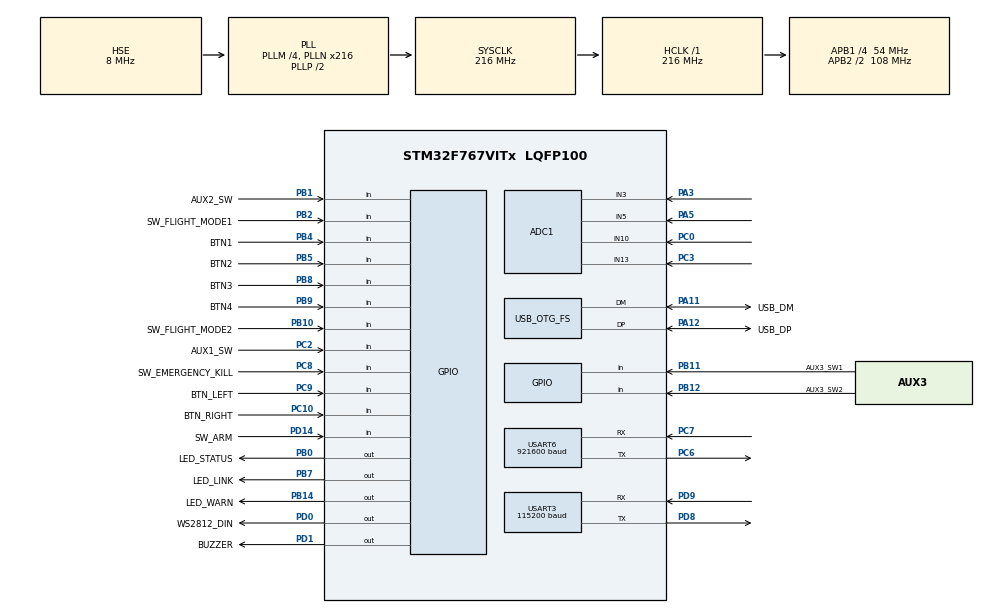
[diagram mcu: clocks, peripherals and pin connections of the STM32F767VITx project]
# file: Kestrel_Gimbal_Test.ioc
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ADC1.Channel-0\#ChannelRegularConversion=ADC_CHANNEL_10
ADC1.Channel-1\#ChannelRegularConversion=ADC_CHANNEL_13
ADC1.Channel-2\#ChannelRegularConversion=ADC_CHANNEL_3
ADC1.Channel-3\#ChannelRegularConversion=ADC_CHANNEL_5
ADC1.ContinuousConvMode=DISABLE
ADC1.DMAContinuousRequests=ENABLE
ADC1.DiscontinuousConvMode=DISABLE
ADC1.ExternalTrigConv=ADC_EXTERNALTRIGCONV_T2_TRGO
ADC1.InjNumberOfConversion=0
ADC1.NbrOfConversion=4
ADC1.NbrOfConversionFlag=1
ADC1.Rank-0\#ChannelRegularConversion=1
ADC1.Rank-1\#ChannelRegularConversion=2
ADC1.Rank-2\#ChannelRegularConversion=3
ADC1.Rank-3\#ChannelRegularConversion=4
ADC1.SamplingTime-0\#ChannelRegularConversion=ADC_SAMPLETIME_144CYCLES
ADC1.SamplingTime-1\#ChannelRegularConversion=ADC_SAMPLETIME_144CYCLES
ADC1.SamplingTime-2\#ChannelRegularConversion=ADC_SAMPLETIME_144CYCLES
ADC1.SamplingTime-3\#ChannelRegularConversion=ADC_SAMPLETIME_144CYCLES
ADC1.ScanConvMode=ADC_SCAN_ENABLE
ADC1.master=1
CORTEX_M7.CPU_ICache=Enabled
CORTEX_M7.default_mode_Activation=1
Dma.ADC1.2.Direction=DMA_PERIPH_TO_MEMORY
Dma.ADC1.2.FIFOMode=DMA_FIFOMODE_DISABLE
Dma.ADC1.2.Instance=DMA2_Stream0
Dma.ADC1.2.MemDataAlignment=DMA_MDATAALIGN_HALFWORD
Dma.ADC1.2.MemInc=DMA_MINC_ENABLE
Dma.ADC1.2.Mode=DMA_CIRCULAR
Dma.ADC1.2.PeriphDataAlignment=DMA_PDATAALIGN_HALFWORD
Dma.ADC1.2.PeriphInc=DMA_PINC_DISABLE
Dma.ADC1.2.Priority=DMA_PRIORITY_HIGH
Dma.Request0=USART6_RX
Dma.Request1=USART6_TX
Dma.Request2=ADC1
Dma.USART6_RX.0.Direction=DMA_PERIPH_TO_MEMORY
Dma.USART6_RX.0.FIFOMode=DMA_FIFOMODE_DISABLE
Dma.USART6_RX.0.Instance=DMA2_Stream1
Dma.USART6_RX.0.MemDataAlignment=DMA_MDATAALIGN_BYTE
Dma.USART6_RX.0.MemInc=DMA_MINC_ENABLE
Dma.USART6_RX.0.Mode=DMA_CIRCULAR
Dma.USART6_RX.0.PeriphDataAlignment=DMA_PDATAALIGN_BYTE
Dma.USART6_RX.0.PeriphInc=DMA_PINC_DISABLE
Dma.USART6_RX.0.Priority=DMA_PRIORITY_VERY_HIGH
Dma.USART6_TX.1.Direction=DMA_MEMORY_TO_PERIPH
Dma.USART6_TX.1.FIFOMode=DMA_FIFOMODE_DISABLE
Dma.USART6_TX.1.Instance=DMA2_Stream6
Dma.USART6_TX.1.MemDataAlignment=DMA_MDATAALIGN_BYTE
Dma.USART6_TX.1.MemInc=DMA_MINC_ENABLE
Dma.USART6_TX.1.Mode=DMA_NORMAL
Dma.USART6_TX.1.PeriphDataAlignment=DMA_PDATAALIGN_BYTE
Dma.USART6_TX.1.PeriphInc=DMA_PINC_DISABLE
Dma.USART6_TX.1.Priority=DMA_PRIORITY_VERY_HIGH
FREERTOS.Tasks01=inputTask,40,512,StartInputTask,Default,NULL,Dynamic,NULL,NULL;linkTxTask,48,512,StartLinkTxTask,Default,NULL,Dynamic,NULL,NULL;mavUplinkTask,24,512,StartMavUplinkTask,Default,NULL,Dynamic,NULL,NULL;linkRxTask,24,512,StartLinkRxTask,Default,NULL,Dynamic,NULL,NULL;healthTask,8,384,StartHealthTask,Default,NULL,Dynamic,NULL,NULL
FREERTOS.configCHECK_FOR_STACK_OVERFLOW=2
FREERTOS.configTOTAL_HEAP_SIZE=49152
FREERTOS.configUSE_MALLOC_FAILED_HOOK=1
FREERTOS.configUSE_NEWLIB_REENTRANT=1
IWDG.Prescaler=IWDG_PRESCALER_64
IWDG.Reload=100
Mcu.Family=STM32F7
Mcu.Name=STM32F767VITx
Mcu.Package=LQFP100
NVIC.DMA2_Stream0_IRQn=true\:6\:0\:true\:false\:true\:true\:false\:true\:true
NVIC.DMA2_Stream1_IRQn=true\:5\:0\:false\:false\:true\:true\:false\:true\:true
NVIC.DMA2_Stream6_IRQn=true\:5\:0\:false\:false\:true\:true\:false\:true\:true
NVIC.OTG_FS_IRQn=true\:6\:0\:true\:false\:true\:true\:false\:true\:true
NVIC.PriorityGroup=NVIC_PRIORITYGROUP_4
NVIC.TIM2_IRQn=true\:5\:0\:false\:false\:true\:true\:true\:true\:true
NVIC.TIM6_DAC_IRQn=true\:15\:0\:false\:false\:true\:false\:false\:true\:true
NVIC.TimeBase=TIM6_DAC_IRQn
NVIC.TimeBaseIP=TIM6
NVIC.USART3_IRQn=true\:5\:0\:false\:false\:true\:true\:true\:true\:true
NVIC.USART6_IRQn=true\:5\:0\:false\:false\:true\:true\:true\:true\:true
PA11.GPIO_Label=USB_DM
PA11.Mode=Device_Only
PA11.Signal=USB_OTG_FS_DM
PA12.GPIO_Label=USB_DP
PA12.Mode=Device_Only
PA12.Signal=USB_OTG_FS_DP
PA13.GPIO_Label=TMS
PA13.Mode=Serial_Wire
PA13.Signal=SYS_JTMS-SWDIO
PA14.GPIO_Label=TCK
PA14.Mode=Serial_Wire
PA14.Signal=SYS_JTCK-SWCLK
PA3.Signal=ADCx_IN3
PA5.Signal=ADCx_IN5
PB0.GPIO_Label=LED_STATUS
PB0.Signal=GPIO_Output
PB1.GPIO_Label=AUX2_SW
PB1.GPIO_PuPd=GPIO_PULLUP
PB1.Signal=GPIO_Input
PB10.GPIO_Label=SW_FLIGHT_MODE2
PB10.GPIO_PuPd=GPIO_PULLUP
PB10.Signal=GPIO_Input
PB11.GPIO_Label=AUX3_SW1
PB11.GPIO_PuPd=GPIO_PULLUP
PB11.Signal=GPIO_Input
PB12.GPIO_Label=AUX3_SW2
PB12.GPIO_PuPd=GPIO_PULLUP
PB12.Signal=GPIO_Input
PB14.GPIO_Label=LED_WARN
PB14.Signal=GPIO_Output
PB2.GPIO_Label=SW_FLIGHT_MODE1
PB2.GPIO_PuPd=GPIO_PULLUP
PB2.Signal=GPIO_Input
PB3.GPIO_Label=SWO
PB3.Signal=SYS_JTDO-SWO
PB4.GPIO_Label=BTN1
PB4.GPIO_PuPd=GPIO_PULLUP
PB4.Signal=GPIO_Input
PB5.GPIO_Label=BTN2
PB5.GPIO_PuPd=GPIO_PULLUP
PB5.Signal=GPIO_Input
PB7.GPIO_Label=LED_LINK
PB7.Signal=GPIO_Output
PB8.GPIO_Label=BTN3
PB8.GPIO_PuPd=GPIO_PULLUP
PB8.Signal=GPIO_Input
PB9.GPIO_Label=BTN4
PB9.GPIO_PuPd=GPIO_PULLUP
PB9.Signal=GPIO_Input
PC0.Signal=ADCx_IN10
PC10.GPIO_Label=BTN_RIGHT
PC10.GPIO_PuPd=GPIO_PULLUP
PC10.Signal=GPIO_Input
PC2.GPIO_Label=AUX1_SW
PC2.GPIO_PuPd=GPIO_PULLUP
PC2.Signal=GPIO_Input
PC3.Signal=ADCx_IN13
PC6.Mode=Asynchronous
PC6.Signal=USART6_TX
PC7.Mode=Asynchronous
PC7.Signal=USART6_RX
PC8.GPIO_Label=SW_EMERGENCY_KILL
PC8.GPIO_PuPd=GPIO_PULLUP
PC8.Signal=GPIO_Input
PC9.GPIO_Label=BTN_LEFT
PC9.GPIO_PuPd=GPIO_PULLUP
PC9.Signal=GPIO_Input
PD0.GPIO_Label=WS2812_DIN
PD0.GPIO_Speed=GPIO_SPEED_FREQ_VERY_HIGH
PD0.Signal=GPIO_Output
PD1.GPIO_Label=BUZZER
PD1.Signal=GPIO_Output
PD14.GPIO_Label=SW_ARM
PD14.GPIO_PuPd=GPIO_PULLUP
PD14.Signal=GPIO_Input
PD8.Mode=Asynchronous
PD8.Signal=USART3_TX
PD9.Mode=Asynchronous
PD9.Signal=USART3_RX
PH0/OSC_IN.Mode=HSE-External-Clock-Source
PH0/OSC_IN.Signal=RCC_OSC_IN
PH1/OSC_OUT.Mode=HSE-External-Clock-Source
PH1/OSC_OUT.Signal=RCC_OSC_OUT
ProjectManager.HeapSize=0x200
ProjectManager.StackSize=0x400
ProjectManager.TargetToolchain=STM32CubeIDE
RCC.48MHZClocksFreq_Value=24000000
RCC.AHBFreq_Value=216000000
RCC.APB1CLKDivider=RCC_HCLK_DIV4
RCC.APB1Freq_Value=54000000
RCC.APB1TimFreq_Value=108000000
RCC.APB2CLKDivider=RCC_HCLK_DIV2
RCC.APB2Freq_Value=108000000
RCC.APB2TimFreq_Value=216000000
RCC.CortexFreq_Value=216000000
RCC.HCLKFreq_Value=216000000
RCC.HSE_VALUE=8000000
RCC.HSI_VALUE=16000000
RCC.LSE_VALUE=32768
RCC.PLLM=4
RCC.PLLMUL=RCC_PLL_MUL9
RCC.PLLN=216
RCC.PLLQ=9
RCC.PRESCALERUSB=RCC_USBCLKSOURCE_PLL_DIV1_5
RCC.SYSCLKFreq_VALUE=216000000
RCC.SYSCLKSource=RCC_SYSCLKSOURCE_PLLCLK
RCC.SYSCLKSourceVirtual=RCC_SYSCLKSOURCE_PLLCLK
RCC.USBFreq_Value=48000000
RCC.VCOOutputFreq_Value=432000000
SH.ADCx_IN10.0=ADC1_IN10,IN10
SH.ADCx_IN13.0=ADC1_IN13,IN13
SH.ADCx_IN3.0=ADC1_IN3,IN3
SH.ADCx_IN5.0=ADC1_IN5,IN5
TIM2.AutoReloadPreload=TIM_AUTORELOAD_PRELOAD_ENABLE
TIM2.Period=3999
TIM2.Prescaler=107
TIM2.TIM_MasterOutputTrigger=TIM_TRGO_UPDATE
USART3.BaudRate=115200
USART3.VirtualMode-Asynchronous=VM_ASYNC
USART6.BaudRate=921600
USART6.VirtualMode=VM_ASYNC
USB_DEVICE.CLASS_NAME_FS=CDC
USB_DEVICE.VirtualMode-CDC_FS=Cdc
USB_DEVICE.VirtualModeFS=Cdc_FS
USB_OTG_FS.VirtualMode=Device_Only
VP_FREERTOS_VS_CMSIS_V2.Mode=CMSIS_V2
VP_IWDG_VS_IWDG.Mode=IWDG_Activate
VP_SYS_VS_tim6.Mode=TIM6
VP_TIM2_VS_ClockSourceINT.Mode=Internal
VP_USB_DEVICE_VS_USB_DEVICE_CDC_FS.Mode=CDC_FS
board=custom

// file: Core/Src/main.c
/* USER CODE BEGIN Header */
/**
  ******************************************************************************
  * @file           : main.c
  * @brief          : Main program body
  ******************************************************************************
  * @attention
  *
  * Copyright (c) 2026 STMicroelectronics.
  * All rights reserved.
  *
  * This software is licensed under terms that can be found in the LICENSE file
  * in the root directory of this software component.
  * If no LICENSE file comes with this software, it is provided AS-IS.
  *
  ******************************************************************************
  */
/* USER CODE END Header */
#include "main.h"
#include "cmsis_os.h"
#include "adc.h"
#include "dma.h"
#include "iwdg.h"
#include "tim.h"
#include "usart.h"
#include "usb_device.h"
#include "gpio.h"

void SystemClock_Config(void);
static void MPU_Config(void);
void MX_FREERTOS_Init(void);

int main(void)
{

  /* MPU Configuration--------------------------------------------------------*/
  MPU_Config();

  /* Enable the CPU Cache */

  /* Enable I-Cache---------------------------------------------------------*/
  SCB_EnableICache();

  /* MCU Configuration--------------------------------------------------------*/

  /* Reset of all peripherals, Initializes the Flash interface and the Systick. */
  HAL_Init();

  /* Configure the system clock */
  SystemClock_Config();

  /* Initialize all configured peripherals */
  MX_GPIO_Init();
  MX_DMA_Init();
  MX_ADC1_Init();
  MX_USART6_UART_Init();
  MX_TIM2_Init();
  MX_IWDG_Init();
  MX_USART3_UART_Init();
  /* USER CODE BEGIN 2 */
  __HAL_DBGMCU_FREEZE_IWDG();   /* disables watchdog timeout while debugging */
  /* USER CODE END 2 */

  /* Init scheduler */
  osKernelInitialize();  /* Call init function for freertos objects (in cmsis_os2.c) */
  MX_FREERTOS_Init();

  /* Start scheduler */
  osKernelStart();

  /* We should never get here as control is now taken by the scheduler */

  /* Infinite loop */
  while (1)
  {

  }
}

void SystemClock_Config(void)
{
  RCC_OscInitTypeDef RCC_OscInitStruct = {0};
  RCC_ClkInitTypeDef RCC_ClkInitStruct = {0};

  /** Configure the main internal regulator output voltage
  */
  __HAL_RCC_PWR_CLK_ENABLE();
  __HAL_PWR_VOLTAGESCALING_CONFIG(PWR_REGULATOR_VOLTAGE_SCALE1);

  /** Initializes the RCC Oscillators according to the specified parameters
  * in the RCC_OscInitTypeDef structure.
  */
  RCC_OscInitStruct.OscillatorType = RCC_OSCILLATORTYPE_LSI|RCC_OSCILLATORTYPE_HSE;
  RCC_OscInitStruct.HSEState = RCC_HSE_BYPASS;
  RCC_OscInitStruct.LSIState = RCC_LSI_ON;
  RCC_OscInitStruct.PLL.PLLState = RCC_PLL_ON;
  RCC_OscInitStruct.PLL.PLLSource = RCC_PLLSOURCE_HSE;
  RCC_OscInitStruct.PLL.PLLM = 4;
  RCC_OscInitStruct.PLL.PLLN = 216;
  RCC_OscInitStruct.PLL.PLLP = RCC_PLLP_DIV2;
  RCC_OscInitStruct.PLL.PLLQ = 9;
  RCC_OscInitStruct.PLL.PLLR = 2;
  if (HAL_RCC_OscConfig(&RCC_OscInitStruct) != HAL_OK)
  {
    Error_Handler();
  }

  /** Activate the Over-Drive mode
  */
  if (HAL_PWREx_EnableOverDrive() != HAL_OK)
  {
    Error_Handler();
  }

  /** Initializes the CPU, AHB and APB buses clocks
  */
  RCC_ClkInitStruct.ClockType = RCC_CLOCKTYPE_HCLK|RCC_CLOCKTYPE_SYSCLK
                              |RCC_CLOCKTYPE_PCLK1|RCC_CLOCKTYPE_PCLK2;
  RCC_ClkInitStruct.SYSCLKSource = RCC_SYSCLKSOURCE_PLLCLK;
  RCC_ClkInitStruct.AHBCLKDivider = RCC_SYSCLK_DIV1;
  RCC_ClkInitStruct.APB1CLKDivider = RCC_HCLK_DIV4;
  RCC_ClkInitStruct.APB2CLKDivider = RCC_HCLK_DIV2;

  if (HAL_RCC_ClockConfig(&RCC_ClkInitStruct, FLASH_LATENCY_7) != HAL_OK)
  {
    Error_Handler();
  }
}

 /* MPU Configuration */

void MPU_Config(void)
{
  MPU_Region_InitTypeDef MPU_InitStruct = {0};

  /* Disables the MPU */
  HAL_MPU_Disable();

  /** Initializes and configures the Region and the memory to be protected
  */
  MPU_InitStruct.Enable = MPU_REGION_ENABLE;
  MPU_InitStruct.Number = MPU_REGION_NUMBER0;
  MPU_InitStruct.BaseAddress = 0x0;
  MPU_InitStruct.Size = MPU_REGION_SIZE_4GB;
  MPU_InitStruct.SubRegionDisable = 0x87;
  MPU_InitStruct.TypeExtField = MPU_TEX_LEVEL0;
  MPU_InitStruct.AccessPermission = MPU_REGION_NO_ACCESS;
  MPU_InitStruct.DisableExec = MPU_INSTRUCTION_ACCESS_DISABLE;
  MPU_InitStruct.IsShareable = MPU_ACCESS_SHAREABLE;
  MPU_InitStruct.IsCacheable = MPU_ACCESS_NOT_CACHEABLE;
  MPU_InitStruct.IsBufferable = MPU_ACCESS_NOT_BUFFERABLE;

  HAL_MPU_ConfigRegion(&MPU_InitStruct);
  /* Enables the MPU */
  HAL_MPU_Enable(MPU_PRIVILEGED_DEFAULT);

}

void HAL_TIM_PeriodElapsedCallback(TIM_HandleTypeDef *htim)
{
  if (htim->Instance == TIM6)
  {
    HAL_IncTick();
  }
  /* USER CODE BEGIN Callback 1 */
  else if (htim->Instance == TIM2)
  {
    link_tx_notify_tick_from_isr();
  }
  /* USER CODE END Callback 1 */
}

void Error_Handler(void)
{
  __disable_irq();
  while (1)
  {
  }
}

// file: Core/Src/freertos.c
/* USER CODE BEGIN Header */
/**
  ******************************************************************************
  * File Name          : freertos.c
  * Description        : Code for freertos applications
  ******************************************************************************
  * @attention
  *
  * Copyright (c) 2026 STMicroelectronics.
  * All rights reserved.
  *
  * This software is licensed under terms that can be found in the LICENSE file
  * in the root directory of this software component.
  * If no LICENSE file comes with this software, it is provided AS-IS.
  *
  ******************************************************************************
  */
/* USER CODE END Header */

#include "FreeRTOS.h"
#include "task.h"
#include "main.h"
#include "cmsis_os.h"

/* USER CODE BEGIN Includes */
#include "adc.h"
#include "usart.h"
#include "tim.h"
#include "iwdg.h"
#include "usbd_cdc_if.h"
#include <string.h>
#include "stream_buffer.h"
#include "crsf.h"
/* USER CODE END Includes */

/* USER CODE BEGIN PTD */
typedef struct { GPIO_TypeDef *port; uint16_t pin; } DigitalInput;
typedef struct { uint16_t min, ctr, max; } StickCal;
typedef struct {
  uint32_t rc_frames_sent;
  uint32_t mav_bytes_sent;
  uint32_t mav_drop;    /* MAVLink bytes dropped, uplink stream full */
  uint32_t uart_err;    /* TX timeouts / aborts / DMA start failures */
} LinkTxStats;
typedef struct {
  uint32_t frames;      /* CRC-valid frames from the module */
  uint32_t mav_bytes;   /* MAVLink bytes forwarded to USB */
  uint32_t usb_drop;    /* MAVLink frames dropped: USB host present but not reading */
  uint32_t rx_drop;     /* bytes lost, s_rx_stream full */
  uint32_t uart_err;    /* RX framing/overrun errors (RX DMA re-armed each time) */
} LinkRxStats;
/* USER CODE END PTD */

/* USER CODE BEGIN PD */
#define MODULE_UART        (&huart6)   /* PC6/PC7, 921600: CRSF RC + 0xAA MAVLink to ELRS module */
#define MODULE_UART_INST   USART6
#define DEBUG_UART         (&huart3)   /* PD8/PD9, 115200 (= Nucleo ST-LINK VCP) */
#define RC_TIMER           (&htim2)    /* 250 Hz: TRGO -> ADC, IRQ -> linkTxTask */

/* ADC1 scan order = AETR: PC0, PC3, PA3, PA5 */
#define NUM_ADC_CHANNELS   4
#define ADC_ROLL   0
#define ADC_PITCH  1
#define ADC_THROT  2
#define ADC_YAW    3

/* LED_* = Nucleo LDs (unconnected on PCB). */
#define LED_SET(name, on)  HAL_GPIO_WritePin(name##_GPIO_Port, name##_Pin, (on) ? GPIO_PIN_SET : GPIO_PIN_RESET)
#define LED_TOGGLE(name)   HAL_GPIO_TogglePin(name##_GPIO_Port, name##_Pin)

/* Digital inputs: contacts to GND, pull-up, active LOW. X(enum, CubeMX label) */
#define DIGITAL_INPUTS(X)                   \
  X(IN_SW_ARM,            SW_ARM)           \
  X(IN_SW_FLIGHT_MODE1,   SW_FLIGHT_MODE1)  \
  X(IN_SW_FLIGHT_MODE2,   SW_FLIGHT_MODE2)  \
  X(IN_SW_EMERGENCY_KILL, SW_EMERGENCY_KILL)\
  X(IN_AUX1_SW,           AUX1_SW)          \
  X(IN_AUX2_SW,           AUX2_SW)          \
  X(IN_AUX3_SW1,          AUX3_SW1)         \
  X(IN_AUX3_SW2,          AUX3_SW2)         \
  X(IN_BTN_LEFT,          BTN_LEFT)         \
  X(IN_BTN_RIGHT,         BTN_RIGHT)        \
  X(IN_BTN1,              BTN1)             \
  X(IN_BTN2,              BTN2)             \
  X(IN_BTN3,              BTN3)             \
  X(IN_BTN4,              BTN4)
enum {
#define X(name, label) name,
  DIGITAL_INPUTS(X)
#undef X
  NUM_DIGITAL_INPUTS
};

/* ---- Inputs ---- */
#define INPUTS_DEBOUNCE_COUNT 3     /* samples at ~500 Hz before a pin flips */
#define STICKS_EMA_SHIFT      2     /* y += (x - y) >> k */
#define STICKS_DEADBAND       20    /* ADC counts around centre -> CRSF_CH_MID */

/* ---- Link TX ---- */
#define RC_RATE_HZ          250     /* must match TIM2: 108 MHz / 108 / 4000 */
#define FRAME_TICKS         pdMS_TO_TICKS(1000 / RC_RATE_HZ)  /* 4 ms period in ticks */
#define FRAME_MARGIN_TICKS  1       /* timing safety buffer */
#define LINK_TX_DONE_TIMEOUT_MS  (2000 / RC_RATE_HZ)  /* DMA completion timeout */
#define LINK_TX_MAV_STREAM_BYTES 2048  /* uplink buffer size (tablet -> drone) */
#define LINK_TX_NOTIFY_TICK    (1uL << 0)  /* TIM2 fired: time to send RC frame */
#define LINK_TX_NOTIFY_TXDONE  (1uL << 1)  /* DMA transmission complete */
#define LINK_TX_NOTIFY_ERROR   (1uL << 2)  /* UART error occurred */
#define LINK_TX_NOTIFY_ALL     0xFFFFFFFFuL  /* all notification bits */

/* ---- Link RX ---- */
#define LINK_RX_DMA_BYTES      512     /* circular DMA ring, drained on idle/half/full */
#define LINK_RX_STREAM_BYTES   1024    /* ISR -> linkRxTask */
#define MODULE_ALIVE_MS        1000    /* no valid frame for this long = module gone */

/* ---- ELRS module ---- */
#define ELRS_PARAM_PACKET_RATE 1       /* parameter index of "Packet Rate" */
#define ELRS_RATE_F1000        19      /* write value = 19 - rate table index */
#define ELRS_RATE_200FULL      17      /* "long range": LoRa 200 Hz, 8ch */
#define ELRS_RF_MODE_F1000     11      /* rf_mode in LINK_STATISTICS */
#define ELRS_RF_MODE_200FULL   6
#define ELRS_UPLINK_BPS_F1000  2500    /* MAVLink bytes/s the air link carries up */
#define ELRS_UPLINK_BPS_200FULL 500
#define RATE_WRITE_LOCKOUT_MS  2000    /* min gap between Packet Rate writes */
/* USER CODE END PD */

/* USER CODE BEGIN Variables */
uint16_t adc_raw_buffer[NUM_ADC_CHANNELS];

StreamBufferHandle_t usbRxStreamBuffer;
const size_t usbRxStreamBufferSize = 512;
const size_t usbRxStreamBufferTriggerLevel = 1;

/* inputs */
static const DigitalInput s_pins[NUM_DIGITAL_INPUTS] = {
#define X(name, label) [name] = { label##_GPIO_Port, label##_Pin },
  DIGITAL_INPUTS(X)
#undef X
};
static uint8_t s_stable[NUM_DIGITAL_INPUTS];   /* debounced: 1 = closed/pressed */
static uint8_t s_count[NUM_DIGITAL_INPUTS];
static const StickCal s_cal = { .min = 100, .ctr = 2048, .max = 3995 };  /* TODO: calibration */
static uint16_t s_ema[4];
static int s_ema_primed;

/* link tx */
static osMutexId_t s_rc_mutex;
static uint16_t s_rc_channels[CRSF_NUM_CHANNELS];
static StreamBufferHandle_t s_mav_stream;
static LinkTxStats s_stats;

/* link rx */
static uint8_t s_rx_dma[LINK_RX_DMA_BYTES];
static uint16_t s_rx_pos;                  /* ring bytes already pushed to s_rx_stream */
static StreamBufferHandle_t s_rx_stream;
static LinkRxStats s_rx_stats;
static crsf_link_stats_t s_link_stats;     /* last LINK_STATISTICS; rf_mode shows the rate */
static TickType_t s_rx_last_tick;          /* last CRC-valid frame from the module */

/* range switch (AUX2_SW -> ELRS "Packet Rate") */
static uint8_t s_rate_wanted = ELRS_RATE_F1000;
static uint8_t s_rate_applied;             /* last value written, 0 = unknown */
static uint8_t s_rate_pending;             /* nonzero: linkTxTask sends this write */
static TickType_t s_rate_write_tick;
/* USER CODE END Variables */
/* Definitions for inputTask */
osThreadId_t inputTaskHandle;
const osThreadAttr_t inputTask_attributes = {
  .name = "inputTask",
  .stack_size = 512 * 4,
  .priority = (osPriority_t) osPriorityHigh,
};
/* Definitions for linkTxTask */
osThreadId_t linkTxTaskHandle;
const osThreadAttr_t linkTxTask_attributes = {
  .name = "linkTxTask",
  .stack_size = 512 * 4,
  .priority = (osPriority_t) osPriorityRealtime,
};
/* Definitions for mavUplinkTask */
osThreadId_t mavUplinkTaskHandle;
const osThreadAttr_t mavUplinkTask_attributes = {
  .name = "mavUplinkTask",
  .stack_size = 512 * 4,
  .priority = (osPriority_t) osPriorityNormal,
};
/* Definitions for linkRxTask */
osThreadId_t linkRxTaskHandle;
const osThreadAttr_t linkRxTask_attributes = {
  .name = "linkRxTask",
  .stack_size = 512 * 4,
  .priority = (osPriority_t) osPriorityNormal,
};
/* Definitions for healthTask */
osThreadId_t healthTaskHandle;
const osThreadAttr_t healthTask_attributes = {
  .name = "healthTask",
  .stack_size = 384 * 4,
  .priority = (osPriority_t) osPriorityLow,
};

/* USER CODE BEGIN FunctionPrototypes */
static void inputs_init(void);
static void sticks_update(const uint16_t adc_axes[4]);
static uint16_t sticks_crsf(unsigned axis);
static void inputs_build_channels(uint16_t ch[CRSF_NUM_CHANNELS]);
static void link_tx_init(void);
static void link_tx_run(void);
static void link_rx_init(void);
static void link_rx_arm(void);
static void link_rx_run(void);
static void rate_switch_update(int module_alive, TickType_t now);
/* USER CODE END FunctionPrototypes */

void StartInputTask(void *argument);
void StartLinkTxTask(void *argument);
void StartMavUplinkTask(void *argument);
void StartLinkRxTask(void *argument);
void StartHealthTask(void *argument);

extern void MX_USB_DEVICE_Init(void);
void MX_FREERTOS_Init(void); /* (MISRA C 2004 rule 8.1) */

/* Hook prototypes */
void vApplicationStackOverflowHook(xTaskHandle xTask, signed char *pcTaskName);
void vApplicationMallocFailedHook(void);

/* USER CODE BEGIN 4 */
void vApplicationStackOverflowHook(xTaskHandle xTask, signed char *pcTaskName)
{
   /* Called if a task's stack overflows. */
}
/* USER CODE END 4 */

/* USER CODE BEGIN 5 */
void vApplicationMallocFailedHook(void)
{
   /* Called if dynamic memory allocation fails (heap exhausted). */
}
/* USER CODE END 5 */

void MX_FREERTOS_Init(void) {
  /* USER CODE BEGIN Init */
  link_tx_init();
  link_rx_init();

  if (HAL_ADC_Start_DMA(&hadc1, (uint32_t*)adc_raw_buffer, NUM_ADC_CHANNELS) != HAL_OK) {
    Error_Handler();
  }

  usbRxStreamBuffer = xStreamBufferCreate(usbRxStreamBufferSize, usbRxStreamBufferTriggerLevel);
  if (usbRxStreamBuffer == NULL) { Error_Handler(); }

  if (HAL_TIM_Base_Start_IT(RC_TIMER) != HAL_OK) {
    Error_Handler();
  }
  /* USER CODE END Init */

  /* Create the thread(s) */
  /* creation of inputTask */
  inputTaskHandle = osThreadNew(StartInputTask, NULL, &inputTask_attributes);

  /* creation of linkTxTask */
  linkTxTaskHandle = osThreadNew(StartLinkTxTask, NULL, &linkTxTask_attributes);

  /* creation of mavUplinkTask */
  mavUplinkTaskHandle = osThreadNew(StartMavUplinkTask, NULL, &mavUplinkTask_attributes);

  /* creation of linkRxTask */
  linkRxTaskHandle = osThreadNew(StartLinkRxTask, NULL, &linkRxTask_attributes);

  /* creation of healthTask */
  healthTaskHandle = osThreadNew(StartHealthTask, NULL, &healthTask_attributes);

}

/* USER CODE BEGIN Header_StartInputTask */
/**
  * @brief  Function implementing the inputTask thread.
  * Reads ADC and GPIO inputs, scales to CRSF channel values, updates shared s_rc_channels[].
  */
/* USER CODE END Header_StartInputTask */
void StartInputTask(void *argument)
{
  /* init code for USB_DEVICE */
  MX_USB_DEVICE_Init();
  /* USER CODE BEGIN StartInputTask */
  uint16_t ch[CRSF_NUM_CHANNELS];

  inputs_init();

  for(;;)
  {
    uint16_t adc_snapshot[4];
    taskENTER_CRITICAL();
    memcpy(adc_snapshot, adc_raw_buffer, sizeof(adc_snapshot)); // take a snapshot of the ADC values
    taskEXIT_CRITICAL();

    sticks_update(adc_snapshot);
    inputs_build_channels(ch);

    osMutexAcquire(s_rc_mutex, osWaitForever);
    memcpy(s_rc_channels, ch, sizeof(s_rc_channels));
    osMutexRelease(s_rc_mutex);

    vTaskDelay(pdMS_TO_TICKS(2));
  }
  /* USER CODE END StartInputTask */
}

void StartLinkTxTask(void *argument)
{
  /* USER CODE BEGIN StartLinkTxTask */
  link_tx_run();
  /* USER CODE END StartLinkTxTask */
}

/* USER CODE BEGIN Header_StartMavUplinkTask */
/**
* @brief Forwards MAVLink commands from USB to the drone uplink stream.
* Receives from usbRxStreamBuffer (populated by USB ISR), queues to s_mav_stream for linkTxTask.
* Drops bytes if uplink buffer is full.
*/
/* USER CODE END Header_StartMavUplinkTask */
void StartMavUplinkTask(void *argument)
{
  /* USER CODE BEGIN StartMavUplinkTask */
uint8_t buf[128];

  for(;;)
  {
    size_t n = xStreamBufferReceive(usbRxStreamBuffer, buf, sizeof(buf), portMAX_DELAY);
    if (n > 0) {
      size_t sent = xStreamBufferSend(s_mav_stream, buf, n, pdMS_TO_TICKS(20));
      if (sent < n) s_stats.mav_drop += (uint32_t)(n - sent);
    }
  }
  /* USER CODE END StartMavUplinkTask */
}

/* USER CODE BEGIN Header_StartLinkRxTask */
/**
* @brief Deframes the module's downlink: 0xAA MAVLink -> USB, 0x14 -> link stats.
*/
/* USER CODE END Header_StartLinkRxTask */
void StartLinkRxTask(void *argument)
{
  /* USER CODE BEGIN StartLinkRxTask */
  link_rx_run();
  /* USER CODE END StartLinkRxTask */
}

/* USER CODE BEGIN Header_StartHealthTask */
/**
* @brief Watchdog (only while RC frames flow), LEDs, range switch.
*/
/* USER CODE END Header_StartHealthTask */
void StartHealthTask(void *argument)
{
  /* USER CODE BEGIN StartHealthTask */
  uint32_t last_rc_frames = 0;

  for(;;)
  {
    TickType_t now = xTaskGetTickCount();
    if (s_stats.rc_frames_sent != last_rc_frames) {
      last_rc_frames = s_stats.rc_frames_sent;
      HAL_IWDG_Refresh(&hiwdg);
      LED_TOGGLE(LED_STATUS);
    }
    int module_alive = s_rx_stats.frames != 0 && (now - s_rx_last_tick) < pdMS_TO_TICKS(MODULE_ALIVE_MS);
    LED_SET(LED_LINK, module_alive);
    rate_switch_update(module_alive, now);
    osDelay(50);
  }
  /* USER CODE END StartHealthTask */
}

/* USER CODE BEGIN Application */
/* ============================ inputs / sticks ============================ */

static void inputs_init(void)
{
  memset(s_stable, 0, sizeof(s_stable));
  memset(s_count, 0, sizeof(s_count));
  s_ema_primed = 0;
}

/* Poll raw digital inputs and apply debouncing */
static void inputs_poll_raw(void)
{
  for (unsigned i = 0; i < NUM_DIGITAL_INPUTS; i++) {
    uint8_t raw = (HAL_GPIO_ReadPin(s_pins[i].port, s_pins[i].pin) == GPIO_PIN_RESET) ? 1u : 0u;
    if (raw == s_stable[i]) {
      s_count[i] = 0;
    } else if (++s_count[i] >= INPUTS_DEBOUNCE_COUNT) {
      s_stable[i] = raw;
      s_count[i] = 0;
    }
  }
}

/** Convert a 2-position switch input to a CRSF channel value */
static uint16_t crsf_2pos(unsigned pin)
{
  return s_stable[pin] ? CRSF_CH_MAX : CRSF_CH_MIN;
}

/* Convert a 3-position switch input to a CRSF channel value */
static uint16_t crsf_3pos(unsigned pin_a, unsigned pin_b)
{
  if (s_stable[pin_a]) return CRSF_CH_MIN;
  if (s_stable[pin_b]) return CRSF_CH_MAX;
  return CRSF_CH_MID;
}

/* Update stick values with exponential moving average */
static void sticks_update(const uint16_t adc_axes[4])
{
  if (!s_ema_primed) {   /* snap to first sample instead of filtering up from 0 */
    memcpy(s_ema, adc_axes, sizeof(s_ema));
    s_ema_primed = 1;
    return;
  }
  for (unsigned i = 0; i < 4; i++) {
    int32_t y = s_ema[i];
    y += ((int32_t)adc_axes[i] - y) >> STICKS_EMA_SHIFT;
    s_ema[i] = (uint16_t)y;
  }
}

/* Convert stick values to CRSF channel values */
static uint16_t sticks_crsf(unsigned axis)
{
  int32_t v = s_ema[axis];
  int32_t ctr = s_cal.ctr;

  if (v > ctr - STICKS_DEADBAND && v < ctr + STICKS_DEADBAND) return CRSF_CH_MID;

  int32_t crsf;
  if (v <= ctr) {
    int32_t span = ctr - (int32_t)s_cal.min;
    if (span <= 0) return CRSF_CH_MID;
    if (v < (int32_t)s_cal.min) v = s_cal.min;
    crsf = (int32_t)CRSF_CH_MID - (int32_t)(CRSF_CH_MID - CRSF_CH_MIN) * (ctr - v) / span;
  } else {
    int32_t span = (int32_t)s_cal.max - ctr;
    if (span <= 0) return CRSF_CH_MID;
    if (v > (int32_t)s_cal.max) v = s_cal.max;
    crsf = (int32_t)CRSF_CH_MID + (int32_t)(CRSF_CH_MAX - CRSF_CH_MID) * (v - ctr) / span;
  }
  if (crsf < (int32_t)CRSF_CH_MIN) crsf = CRSF_CH_MIN;
  if (crsf > (int32_t)CRSF_CH_MAX) crsf = CRSF_CH_MAX;
  return (uint16_t)crsf;
}

/* Build CRSF channel values from raw inputs */
static void inputs_build_channels(uint16_t ch[CRSF_NUM_CHANNELS])
{
  inputs_poll_raw();

  ch[0] = sticks_crsf(ADC_ROLL);
  ch[1] = sticks_crsf(ADC_PITCH);
  ch[2] = sticks_crsf(ADC_THROT);
  ch[3] = sticks_crsf(ADC_YAW);

  ch[4] = crsf_2pos(IN_SW_ARM);   /* ELRS derives its arm bit from CH5; open pin = disarmed */
  ch[5] = crsf_3pos(IN_SW_FLIGHT_MODE1, IN_SW_FLIGHT_MODE2);
  ch[6] = crsf_2pos(IN_SW_EMERGENCY_KILL);
  ch[7] = crsf_2pos(IN_AUX1_SW);
  ch[8] = CRSF_CH_MID;            /* AUX2_SW is the range switch, not an RC channel */
  ch[9] = crsf_3pos(IN_AUX3_SW1, IN_AUX3_SW2);

  s_rate_wanted = s_stable[IN_AUX2_SW] ? ELRS_RATE_200FULL : ELRS_RATE_F1000;

  ch[10] = crsf_2pos(IN_BTN_LEFT);
  ch[11] = crsf_2pos(IN_BTN_RIGHT);
  ch[12] = crsf_2pos(IN_BTN1);
  ch[13] = crsf_2pos(IN_BTN2);
  ch[14] = crsf_2pos(IN_BTN3);
  ch[15] = crsf_2pos(IN_BTN4);
}

/* ================================ link tx ================================ */
/* linkTxTask is woken only by ISR notifications: TIM2 tick, UART TX done,
 * UART error. Each tick: one RC frame first, a pending control frame, then
 * MAVLink chunks gated by a token bucket sized to the air link. Every DMA
 * wait is bounded. */

/* Initialize link TX: mutex, uplink buffer, channels, stats */
static void link_tx_init(void)
{
  s_rc_mutex = osMutexNew(NULL);
  s_mav_stream = xStreamBufferCreate(LINK_TX_MAV_STREAM_BYTES, 1);
  if (s_rc_mutex == NULL || s_mav_stream == NULL) Error_Handler();

  for (unsigned i = 0; i < CRSF_NUM_CHANNELS; i++) s_rc_channels[i] = CRSF_CH_MID;
  memset(&s_stats, 0, sizeof(s_stats));
}

/* Notify the link transmit task from an ISR */
static void link_tx_notify_from_isr(uint32_t bits)
{
  if (linkTxTaskHandle == NULL) return;
  BaseType_t hpw = pdFALSE;
  xTaskNotifyFromISR(linkTxTaskHandle, bits, eSetBits, &hpw);
  portYIELD_FROM_ISR(hpw);
}

/* Called by TIM2 ISR at 250 Hz to signal time to send next RC frame */
void link_tx_notify_tick_from_isr(void)
{
  link_tx_notify_from_isr(LINK_TX_NOTIFY_TICK);
}

/* Send frame via DMA, wait for completion with timeout; return success/fail */
static int link_tx_send(const uint8_t *buf, size_t n)
{
  if (HAL_UART_Transmit_DMA(MODULE_UART, (uint8_t *)buf, n) != HAL_OK) {
    s_stats.uart_err++;
    return 0;
  }
  uint32_t notif = 0;
  BaseType_t got = xTaskNotifyWait(0, LINK_TX_NOTIFY_ALL, &notif, pdMS_TO_TICKS(LINK_TX_DONE_TIMEOUT_MS));
  if (!got || (notif & LINK_TX_NOTIFY_ERROR) || !(notif & LINK_TX_NOTIFY_TXDONE)) {
    HAL_UART_AbortTransmit(MODULE_UART);
    s_stats.uart_err++;
    return 0;
  }
  return 1;
}

/* Main transmission loop: RC frame every tick, then control, then rate-limited MAVLink */
static void link_tx_run(void)
{
  uint8_t tx_buf[CRSF_MAX_FRAME_SIZE];
  uint8_t mav_chunk[CRSF_MAX_PAYLOAD];
  uint32_t budget = 0;   /* MAVLink bytes the air link can take right now */

  for (;;) {
    uint32_t notif = 0;
    xTaskNotifyWait(0, LINK_TX_NOTIFY_ALL, &notif, portMAX_DELAY);
    if (!(notif & LINK_TX_NOTIFY_TICK)) continue;

    TickType_t deadline = xTaskGetTickCount() + FRAME_TICKS - FRAME_MARGIN_TICKS;

    /* 1. RC frame (priority) */
    uint16_t ch[CRSF_NUM_CHANNELS];
    osMutexAcquire(s_rc_mutex, osWaitForever);
    memcpy(ch, s_rc_channels, sizeof(ch));
    osMutexRelease(s_rc_mutex);

    size_t n = crsf_build_rc(tx_buf, ch);
    if (link_tx_send(tx_buf, n)) s_stats.rc_frames_sent++;

    /* 2. Pending Packet Rate write (range switch); retried next tick on failure */
    if (s_rate_pending) {
      n = crsf_build_param_write(tx_buf, ELRS_PARAM_PACKET_RATE, s_rate_pending);
      if (link_tx_send(tx_buf, n)) s_rate_pending = 0;
    }

    /* 3. MAVLink uplink (tablet->drone): the module's FIFO drops silently when
     * fed faster than the air rate, so meter it. Small chunks go out at once. */
    uint32_t bps = (s_rate_wanted == ELRS_RATE_200FULL) ? ELRS_UPLINK_BPS_200FULL : ELRS_UPLINK_BPS_F1000;
    budget += bps / RC_RATE_HZ;
    if (budget > 2 * CRSF_MAX_PAYLOAD) budget = 2 * CRSF_MAX_PAYLOAD;
    while (budget > 0 && (int32_t)(xTaskGetTickCount() - deadline) < 0) {
      size_t want = budget < sizeof(mav_chunk) ? budget : sizeof(mav_chunk);
      size_t got = xStreamBufferReceive(s_mav_stream, mav_chunk, want, 0);
      if (got == 0) break;
      budget -= got;
      n = crsf_build_mavlink(tx_buf, mav_chunk, got);
      if (link_tx_send(tx_buf, n)) s_stats.mav_bytes_sent += (uint32_t)got;
    }
  }
}

/* ================================ link rx ================================ */
/* Circular RX DMA -> HAL_UARTEx_RxEventCallback (idle/half/full) -> s_rx_stream
 * -> linkRxTask deframes. 0xAA payloads go to USB verbatim, 0x14 is kept
 * for rf_mode / debugging, everything else is counted and dropped. */

static void link_rx_init(void)
{
  s_rx_stream = xStreamBufferCreate(LINK_RX_STREAM_BYTES, 1);
  if (s_rx_stream == NULL) Error_Handler();
  link_rx_arm();
}

/* (Re)start the RX ring; also called from the error callback after the HAL stops it */
static void link_rx_arm(void)
{
  s_rx_pos = LINK_RX_DMA_BYTES;   /* HAL reports an idle with no new data as Size=512 */
  if (HAL_UARTEx_ReceiveToIdle_DMA(MODULE_UART, s_rx_dma, LINK_RX_DMA_BYTES) != HAL_OK) s_rx_stats.uart_err++;
}

static void link_rx_run(void)
{
  static crsf_deframer_t df;
  uint8_t buf[64];

  for (;;) {
    size_t n = xStreamBufferReceive(s_rx_stream, buf, sizeof(buf), portMAX_DELAY);
    for (size_t i = 0; i < n; i++) {
      const uint8_t *frame; size_t len;
      if (!crsf_deframe_push(&df, buf[i], &frame, &len)) continue;
      s_rx_last_tick = xTaskGetTickCount();
      s_rx_stats.frames++;
      switch (frame[2]) {
      case CRSF_FRAMETYPE_ELRS_MAVLINK_RAW:
        s_rx_stats.mav_bytes += (uint32_t)(len - 4);
        if (usb_tx(&frame[3], (uint16_t)(len - 4)) == USBD_BUSY) s_rx_stats.usb_drop++;
        break;
      case CRSF_FRAMETYPE_LINK_STATISTICS:
        if (len - 4 >= sizeof(s_link_stats)) memcpy(&s_link_stats, &frame[3], sizeof(s_link_stats));
        break;
      default:
        break;
      }
    }
  }
}

/* ============================== range switch ============================= */
/* AUX2_SW picks the air rate. The module boots in F1000 and keeps the last
 * written rate, so re-assert the switch position whenever the module (re)appears. */
static void rate_switch_update(int module_alive, TickType_t now)
{
  if (!module_alive) {
    s_rate_applied = 0;
    return;
  }
  if (s_rate_wanted == s_rate_applied || s_rate_pending) return;
  if (s_rate_applied != 0 && (now - s_rate_write_tick) < pdMS_TO_TICKS(RATE_WRITE_LOCKOUT_MS)) return;
  s_rate_applied = s_rate_wanted;
  s_rate_write_tick = now;
  s_rate_pending = s_rate_wanted;
}

/* ============================= HAL callbacks ============================= */

/* DMA TX complete interrupt: signal linkTxTask to continue */
void HAL_UART_TxCpltCallback(UART_HandleTypeDef *huart)
{
  if (huart->Instance == MODULE_UART_INST) {
    link_tx_notify_from_isr(LINK_TX_NOTIFY_TXDONE);
  }
}

/* RX ring advanced (idle line, half or full): push [s_rx_pos, Size) to the task.
 * s_rx_pos = 512 after TC or re-arm: the HAL reports an idle with no new data as Size=512. */
void HAL_UARTEx_RxEventCallback(UART_HandleTypeDef *huart, uint16_t Size)
{
  if (huart->Instance != MODULE_UART_INST || Size == s_rx_pos) return;
  BaseType_t hpw = pdFALSE;
  size_t sent = 0;
  if (Size > s_rx_pos) {
    sent = xStreamBufferSendFromISR(s_rx_stream, &s_rx_dma[s_rx_pos], Size - s_rx_pos, &hpw);
    s_rx_stats.rx_drop += (Size - s_rx_pos) - sent;
  } else {                      /* wrapped: tail of the ring, then the head */
    size_t tail = LINK_RX_DMA_BYTES - s_rx_pos;
    if (tail) {
      sent = xStreamBufferSendFromISR(s_rx_stream, &s_rx_dma[s_rx_pos], tail, &hpw);
      s_rx_stats.rx_drop += tail - sent;
    }
    if (Size) {
      sent = xStreamBufferSendFromISR(s_rx_stream, &s_rx_dma[0], Size, &hpw);
      s_rx_stats.rx_drop += Size - sent;
    }
  }
  s_rx_pos = Size;
  portYIELD_FROM_ISR(hpw);
}

/* UART error. Any RX error makes the HAL stop RX DMA: re-arm it. A TX DMA
 * error ends the transfer with gState READY: release linkTxTask. */
void HAL_UART_ErrorCallback(UART_HandleTypeDef *huart)
{
  if (huart->Instance != MODULE_UART_INST) return;
  uint32_t err = huart->ErrorCode;         /* re-arming clears it */
  if (huart->RxState == HAL_UART_STATE_READY) {
    s_rx_stats.uart_err++;
    link_rx_arm();
  }
  if ((err & HAL_UART_ERROR_DMA) && huart->gState == HAL_UART_STATE_READY) {
    link_tx_notify_from_isr(LINK_TX_NOTIFY_TXDONE | LINK_TX_NOTIFY_ERROR);
  }
}
/* USER CODE END Application */
